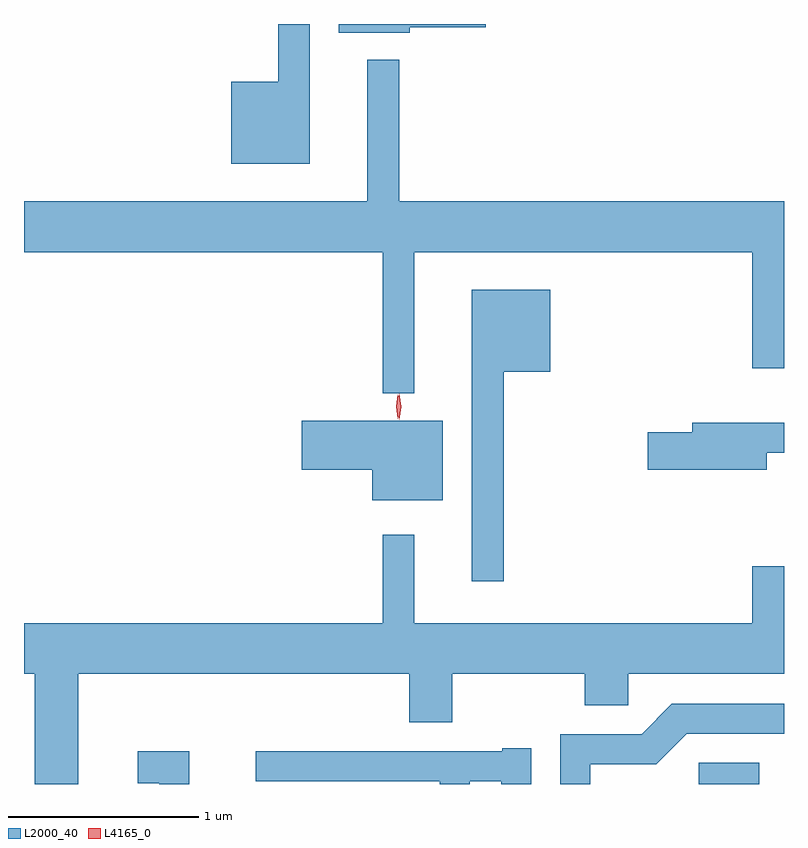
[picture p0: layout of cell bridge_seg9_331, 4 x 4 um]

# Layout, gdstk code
import gdstk
lib = gdstk.Library(unit=1e-6, precision=1e-09)
def R(c, l, rs):  # rectangles x0, y0, x1, y1
    for r in rs: c.add(gdstk.rectangle(r[:2], r[2:], *l))
def P(c, l, *ps):  # polygons
    for p in ps: c.add(gdstk.Polygon(p, *l))
L2000_40 = (2000, 40)
L4165_0 = (4165, 0)

bridge_seg9_331 = lib.new_cell('bridge_seg9_331')
R(bridge_seg9_331, L2000_40, [(734.276,2075.597,734.593,2075.709)])
P(bridge_seg9_331, L2000_40, [(732.754,2079.581),(733.154,2079.581),(733.154,2079.597),(732.381,2079.597),(732.381,2079.551),(732.754,2079.551)],
  [(732.229,2079.597),(732.061,2079.597),(732.061,2079.294),(731.816,2079.294),(731.816,2078.861),(732.229,2078.861)],
  [(732.779,2078.396),(734.556,2078.396),(734.556,2077.786),(734.724,2077.786),(734.724,2078.664),(732.699,2078.664),(732.699,2079.408),(732.531,2079.408),(732.531,2078.664),(730.724,2078.664),(730.724,2078.396),(732.611,2078.396),(732.611,2077.653),(732.779,2077.653)],
  [(733.249,2077.766),(733.494,2077.766),(733.494,2078.199),(733.081,2078.199),(733.081,2076.663),(733.249,2076.663)],
  [(732.929,2077.509),(732.186,2077.509),(732.186,2077.251),(732.556,2077.251),(732.556,2077.091),(732.929,2077.091)],
  [(734.634,2077.341),(734.724,2077.341),(734.724,2077.499),(734.241,2077.499),(734.241,2077.449),(734.006,2077.449),(734.006,2077.251),(734.634,2077.251)],
  [(731.009,2076.176),(732.751,2076.176),(732.751,2075.921),(732.979,2075.921),(732.979,2076.176),(733.676,2076.176),(733.676,2076.011),(733.904,2076.011),(733.904,2076.176),(734.724,2076.176),(734.724,2076.744),(734.556,2076.744),(734.556,2076.444),(732.779,2076.444),(732.779,2076.908),(732.611,2076.908),(732.611,2076.444),(730.724,2076.444),(730.724,2076.176),(730.781,2076.176),(730.781,2075.597),(731.009,2075.597)],
  [(733.704,2075.701),(734.052,2075.701),(734.212,2075.861),(734.724,2075.861),(734.724,2076.019),(734.134,2076.019),(733.974,2075.859),(733.546,2075.859),(733.546,2075.597),(733.704,2075.597)],
  [(733.069,2075.611),(733.236,2075.611),(733.236,2075.597),(733.394,2075.597),(733.394,2075.784),(733.24,2075.784),(733.24,2075.769),(731.943,2075.769),(731.943,2075.611),(732.911,2075.611),(732.911,2075.597),(733.069,2075.597)],
  [(731.594,2075.769),(731.323,2075.769),(731.323,2075.601),(731.436,2075.601),(731.436,2075.597),(731.594,2075.597)])
P(bridge_seg9_331, L4165_0, [(732.699,2077.514),(732.689,2077.582),(732.698,2077.65),(732.699,2077.65),(732.699,2077.65),(732.709,2077.582),(732.7,2077.514),(732.7,2077.514)],
  [(732.691,2077.52),(732.682,2077.584),(732.691,2077.646),(732.692,2077.647),(732.692,2077.646),(732.702,2077.584),(732.692,2077.52),(732.692,2077.52)])

lib.write_gds('bridge_seg9_331.gds')
